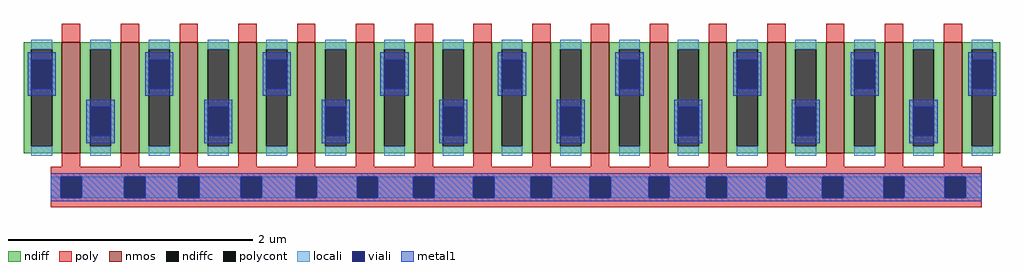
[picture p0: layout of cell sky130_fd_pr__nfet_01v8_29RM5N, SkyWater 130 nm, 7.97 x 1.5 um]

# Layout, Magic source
magic
tech sky130A
magscale 1 2
<< nmos >>
rect -735 -91 -705 91
rect -639 -91 -609 91
rect -543 -91 -513 91
rect -447 -91 -417 91
rect -351 -91 -321 91
rect -255 -91 -225 91
rect -159 -91 -129 91
rect -63 -91 -33 91
rect 33 -91 63 91
rect 129 -91 159 91
rect 225 -91 255 91
rect 321 -91 351 91
rect 417 -91 447 91
rect 513 -91 543 91
rect 609 -91 639 91
rect 705 -91 735 91
<< ndiff >>
rect -797 79 -735 91
rect -797 -79 -785 79
rect -751 -79 -735 79
rect -797 -91 -735 -79
rect -705 79 -639 91
rect -705 -79 -689 79
rect -655 -79 -639 79
rect -705 -91 -639 -79
rect -609 79 -543 91
rect -609 -79 -593 79
rect -559 -79 -543 79
rect -609 -91 -543 -79
rect -513 79 -447 91
rect -513 -79 -497 79
rect -463 -79 -447 79
rect -513 -91 -447 -79
rect -417 79 -351 91
rect -417 -79 -401 79
rect -367 -79 -351 79
rect -417 -91 -351 -79
rect -321 79 -255 91
rect -321 -79 -305 79
rect -271 -79 -255 79
rect -321 -91 -255 -79
rect -225 79 -159 91
rect -225 -79 -209 79
rect -175 -79 -159 79
rect -225 -91 -159 -79
rect -129 79 -63 91
rect -129 -79 -113 79
rect -79 -79 -63 79
rect -129 -91 -63 -79
rect -33 79 33 91
rect -33 -79 -17 79
rect 17 -79 33 79
rect -33 -91 33 -79
rect 63 79 129 91
rect 63 -79 79 79
rect 113 -79 129 79
rect 63 -91 129 -79
rect 159 79 225 91
rect 159 -79 175 79
rect 209 -79 225 79
rect 159 -91 225 -79
rect 255 79 321 91
rect 255 -79 271 79
rect 305 -79 321 79
rect 255 -91 321 -79
rect 351 79 417 91
rect 351 -79 367 79
rect 401 -79 417 79
rect 351 -91 417 -79
rect 447 79 513 91
rect 447 -79 463 79
rect 497 -79 513 79
rect 447 -91 513 -79
rect 543 79 609 91
rect 543 -79 559 79
rect 593 -79 609 79
rect 543 -91 609 -79
rect 639 79 705 91
rect 639 -79 655 79
rect 689 -79 705 79
rect 639 -91 705 -79
rect 735 79 797 91
rect 735 -79 751 79
rect 785 -79 797 79
rect 735 -91 797 -79
<< ndiffc >>
rect -785 -79 -751 79
rect -689 -79 -655 79
rect -593 -79 -559 79
rect -497 -79 -463 79
rect -401 -79 -367 79
rect -305 -79 -271 79
rect -209 -79 -175 79
rect -113 -79 -79 79
rect -17 -79 17 79
rect 79 -79 113 79
rect 175 -79 209 79
rect 271 -79 305 79
rect 367 -79 401 79
rect 463 -79 497 79
rect 559 -79 593 79
rect 655 -79 689 79
rect 751 -79 785 79
<< poly >>
rect -735 91 -705 121
rect -639 91 -609 121
rect -543 91 -513 121
rect -447 91 -417 121
rect -351 91 -321 121
rect -255 91 -225 121
rect -159 91 -129 121
rect -63 91 -33 121
rect 33 91 63 121
rect 129 91 159 121
rect 225 91 255 121
rect 321 91 351 121
rect 417 91 447 121
rect 513 91 543 121
rect 609 91 639 121
rect 705 91 735 121
rect -735 -113 -705 -91
rect -639 -113 -609 -91
rect -543 -113 -513 -91
rect -447 -113 -417 -91
rect -351 -113 -321 -91
rect -255 -113 -225 -91
rect -159 -113 -129 -91
rect -63 -113 -33 -91
rect 33 -113 63 -91
rect 129 -113 159 -91
rect 225 -113 255 -91
rect 321 -113 351 -91
rect 417 -113 447 -91
rect 513 -113 543 -91
rect 609 -113 639 -91
rect 705 -113 735 -91
rect -753 -129 767 -113
rect -753 -163 -737 -129
rect -703 -163 -633 -129
rect -599 -163 -545 -129
rect -511 -163 -443 -129
rect -409 -163 -353 -129
rect -319 -163 -253 -129
rect -219 -163 -161 -129
rect -127 -163 -63 -129
rect -29 -163 31 -129
rect 65 -163 127 -129
rect 161 -163 223 -129
rect 257 -163 317 -129
rect 351 -163 415 -129
rect 449 -163 507 -129
rect 541 -163 607 -129
rect 641 -163 707 -129
rect 741 -163 767 -129
rect -753 -179 767 -163
<< polycont >>
rect -737 -163 -703 -129
rect -633 -163 -599 -129
rect -545 -163 -511 -129
rect -443 -163 -409 -129
rect -353 -163 -319 -129
rect -253 -163 -219 -129
rect -161 -163 -127 -129
rect -63 -163 -29 -129
rect 31 -163 65 -129
rect 127 -163 161 -129
rect 223 -163 257 -129
rect 317 -163 351 -129
rect 415 -163 449 -129
rect 507 -163 541 -129
rect 607 -163 641 -129
rect 707 -163 741 -129
<< locali >>
rect -785 79 -751 95
rect -785 -95 -751 -79
rect -689 79 -655 95
rect -689 -95 -655 -79
rect -593 79 -559 95
rect -593 -95 -559 -79
rect -497 79 -463 95
rect -497 -95 -463 -79
rect -401 79 -367 95
rect -401 -95 -367 -79
rect -305 79 -271 95
rect -305 -95 -271 -79
rect -209 79 -175 95
rect -209 -95 -175 -79
rect -113 79 -79 95
rect -113 -95 -79 -79
rect -17 79 17 95
rect -17 -95 17 -79
rect 79 79 113 95
rect 79 -95 113 -79
rect 175 79 209 95
rect 175 -95 209 -79
rect 271 79 305 95
rect 271 -95 305 -79
rect 367 79 401 95
rect 367 -95 401 -79
rect 463 79 497 95
rect 463 -95 497 -79
rect 559 79 593 95
rect 559 -95 593 -79
rect 655 79 689 95
rect 655 -95 689 -79
rect 751 79 785 95
rect 751 -95 785 -79
rect -753 -163 -737 -129
rect -703 -163 -633 -129
rect -599 -163 -545 -129
rect -511 -163 -443 -129
rect -409 -163 -353 -129
rect -319 -163 -253 -129
rect -219 -163 -161 -129
rect -127 -163 -63 -129
rect -29 -163 31 -129
rect 65 -163 127 -129
rect 161 -163 223 -129
rect 257 -163 317 -129
rect 351 -163 415 -129
rect 449 -163 507 -129
rect 541 -163 607 -129
rect 641 -163 707 -129
rect 741 -163 767 -129
<< viali >>
rect -785 15 -751 62
rect -689 -62 -655 -15
rect -593 15 -559 62
rect -497 -62 -463 -15
rect -401 15 -367 62
rect -305 -62 -271 -15
rect -209 15 -175 62
rect -113 -62 -79 -15
rect -17 15 17 62
rect 79 -62 113 -15
rect 175 15 209 62
rect 271 -62 305 -15
rect 367 15 401 62
rect 463 -62 497 -15
rect 559 15 593 62
rect 655 -62 689 -15
rect 751 15 785 62
rect -737 -163 -703 -129
rect -633 -163 -599 -129
rect -545 -163 -511 -129
rect -443 -163 -409 -129
rect -353 -163 -319 -129
rect -253 -163 -219 -129
rect -161 -163 -127 -129
rect -63 -163 -29 -129
rect 31 -163 65 -129
rect 127 -163 161 -129
rect 223 -163 257 -129
rect 317 -163 351 -129
rect 415 -163 449 -129
rect 507 -163 541 -129
rect 607 -163 641 -129
rect 707 -163 741 -129
<< metal1 >>
rect -791 62 -745 74
rect -791 15 -785 62
rect -751 15 -745 62
rect -791 3 -745 15
rect -599 62 -553 74
rect -599 15 -593 62
rect -559 15 -553 62
rect -599 3 -553 15
rect -407 62 -361 74
rect -407 15 -401 62
rect -367 15 -361 62
rect -407 3 -361 15
rect -215 62 -169 74
rect -215 15 -209 62
rect -175 15 -169 62
rect -215 3 -169 15
rect -23 62 23 74
rect -23 15 -17 62
rect 17 15 23 62
rect -23 3 23 15
rect 169 62 215 74
rect 169 15 175 62
rect 209 15 215 62
rect 169 3 215 15
rect 361 62 407 74
rect 361 15 367 62
rect 401 15 407 62
rect 361 3 407 15
rect 553 62 599 74
rect 553 15 559 62
rect 593 15 599 62
rect 553 3 599 15
rect 745 62 791 74
rect 745 15 751 62
rect 785 15 791 62
rect 745 3 791 15
rect -695 -15 -649 -3
rect -695 -62 -689 -15
rect -655 -62 -649 -15
rect -695 -74 -649 -62
rect -503 -15 -457 -3
rect -503 -62 -497 -15
rect -463 -62 -457 -15
rect -503 -74 -457 -62
rect -311 -15 -265 -3
rect -311 -62 -305 -15
rect -271 -62 -265 -15
rect -311 -74 -265 -62
rect -119 -15 -73 -3
rect -119 -62 -113 -15
rect -79 -62 -73 -15
rect -119 -74 -73 -62
rect 73 -15 119 -3
rect 73 -62 79 -15
rect 113 -62 119 -15
rect 73 -74 119 -62
rect 265 -15 311 -3
rect 265 -62 271 -15
rect 305 -62 311 -15
rect 265 -74 311 -62
rect 457 -15 503 -3
rect 457 -62 463 -15
rect 497 -62 503 -15
rect 457 -74 503 -62
rect 649 -15 695 -3
rect 649 -62 655 -15
rect 689 -62 695 -15
rect 649 -74 695 -62
rect -753 -129 767 -123
rect -753 -163 -737 -129
rect -703 -163 -633 -129
rect -599 -163 -545 -129
rect -511 -163 -443 -129
rect -409 -163 -353 -129
rect -319 -163 -253 -129
rect -219 -163 -161 -129
rect -127 -163 -63 -129
rect -29 -163 31 -129
rect 65 -163 127 -129
rect 161 -163 223 -129
rect 257 -163 317 -129
rect 351 -163 415 -129
rect 449 -163 507 -129
rect 541 -163 607 -129
rect 641 -163 707 -129
rect 741 -163 767 -129
rect -753 -169 767 -163
<< properties >>
string gencell sky130_fd_pr__nfet_01v8
string library sky130
string parameters w 0.91 l 0.15 m 1 nf 16 diffcov 100 polycov 100 guard 0 glc 1 grc 1 gtc 1 gbc 1 tbcov 100 rlcov 100 topc 1 botc 1 poverlap 0 doverlap 1 lmin 0.15 wmin 0.42 compatible {sky130_fd_pr__nfet_01v8 sky130_fd_pr__nfet_01v8_lvt  sky130_fd_bs_flash__special_sonosfet_star  sky130_fd_pr__nfet_g5v0d10v5 sky130_fd_pr__nfet_05v0_nvt  sky130_fd_pr__nfet_03v3_nvt} full_metal 0 viasrc +30 viadrn -30 viagate 100 viagb 0 viagr 0 viagl 0 viagt 0
<< end >>
